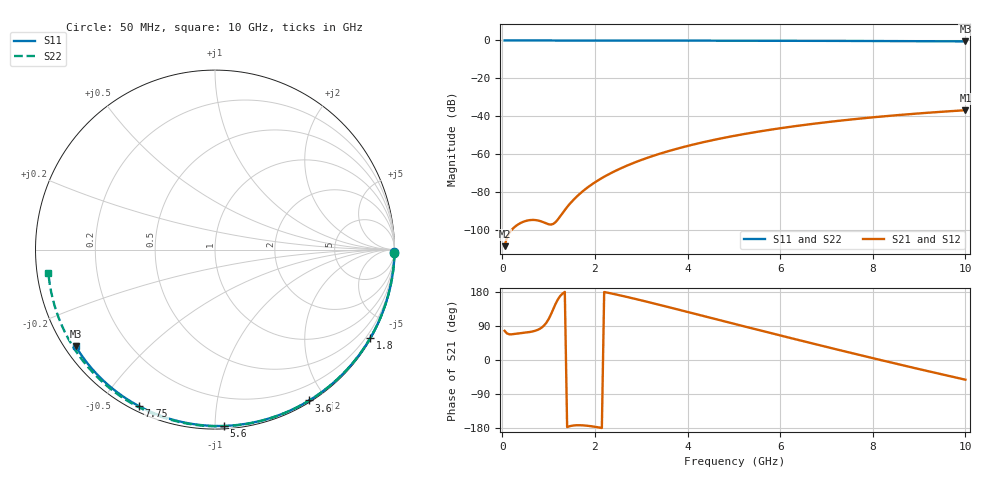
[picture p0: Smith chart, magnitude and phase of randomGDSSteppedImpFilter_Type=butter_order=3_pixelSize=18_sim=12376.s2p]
! freq	dB(S11)	phase(S11)	dB(S12)	phase(S12)
!  dB(S21)	phase(S21)	dB(S22)	phase(S22)
!S-par simulation data
#  GHz  S  DB  R 50
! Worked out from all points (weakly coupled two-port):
!   200 points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, 50 MHz to 10 GHz, reference 50 ohm
!   highest |S21| = -36.86 dB at 10 GHz (marker M1); lowest = -108.7 dB at 50 MHz (marker M2)
!   lowest |S11| = -0.5 dB at 10 GHz (marker M3), VSWR 35.27, Z = 1.56 - j15.7 ohm
!   |S11| at or under -10 dB: nowhere
!   |S22| runs from -0.6 to 0.0 dB; largest |S21 - S12| = 0
!   S11 on the Smith chart (normalised r, x): 50 MHz: open; 1.8 GHz: 0.03, -3.77; 3.6 GHz: 0.02, -1.80; 5.6 GHz: 0.02, -1.05; 7.75 GHz: 0.02, -0.63; 10 GHz: 0.03, -0.31
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0.05  -0.00 -0.8  -108.69 77.1  -108.69 77.1  -0.00 -1.0
0.45  -0.01 -7.5  -95.83 71.6  -95.83 71.6  -0.01 -9.0
0.85  -0.02 -14.2  -95.67 85.5  -95.67 85.5  -0.02 -16.9
1.25  -0.03 -20.8  -92.93 168.8  -92.93 168.8  -0.03 -24.7
1.7  -0.04 -28.1  -80.44 -172.2  -80.44 -172.2  -0.04 -33.4
1.75  -0.04 -28.9  -79.42 -172.5  -79.42 -172.5  -0.04 -34.4
1.8  -0.04 -29.7  -78.45 -173.0  -78.45 -173.0  -0.04 -35.4
2.1  -0.04 -34.6  -73.43 -178.3  -73.43 -178.3  -0.05 -41.1
2.3  -0.05 -37.8  -70.67 177.0  -70.67 177.0  -0.06 -44.9
2.5  -0.05 -40.9  -68.23 171.8  -68.23 171.8  -0.06 -48.6
2.9  -0.06 -47.2  -64.08 160.4  -64.08 160.4  -0.07 -56.0
3.4  -0.07 -54.9  -59.85 145.4  -59.85 145.4  -0.09 -65.1
3.6  -0.08 -58.0  -58.38 139.2  -58.38 139.2  -0.09 -68.6
4.3  -0.10 -68.5  -53.98 117.5  -53.98 117.5  -0.11 -80.9
5.05  -0.12 -79.3  -50.21 94.1  -50.21 94.1  -0.14 -93.5
5.6  -0.14 -87.1  -47.89 77.1  -47.89 77.1  -0.17 -102.6
6.15  -0.17 -94.7  -45.86 60.3  -45.86 60.3  -0.20 -111.4
6.7  -0.20 -102.1  -44.08 43.6  -44.08 43.6  -0.23 -120.1
7.75  -0.27 -115.9  -41.21 12.2  -41.21 12.2  -0.31 -136.5
8.35  -0.32 -123.7  -39.84 -5.3  -39.84 -5.3  -0.37 -145.8
9.2  -0.40 -134.7  -38.17 -29.7  -38.17 -29.7  -0.46 -159.1
10  -0.49 -145.2  -36.86 -51.9  -36.86 -51.9  -0.56 -172.0
